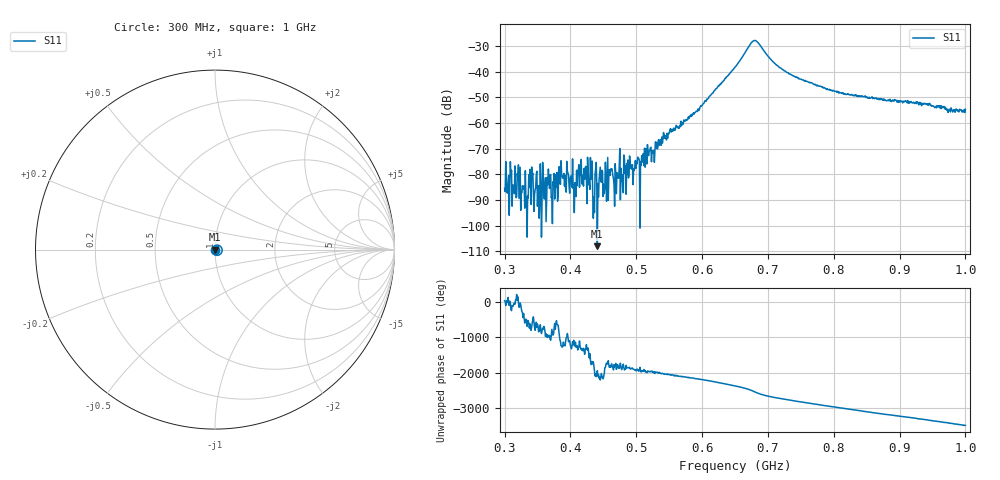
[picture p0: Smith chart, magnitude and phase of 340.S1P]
! C:\Users\rflab\Downloads\q2\340.S1P
! Touchstone 1.1 file saved by VNA.EXE V1.65 (www.ke5fx.com/gpib/readme.htm)
! 11/20/2024 11:17:15 AM
!  Source: HEWLETT PACKARD,8753D,0,6.14
!  Min freq: 3.000000E+008 Hz
!  Max freq: 1.000000E+009 Hz
!  Points: 801
!  Params: S21
# GHZ S MA R 50
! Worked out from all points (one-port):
!   801 points, 300 MHz to 1 GHz, reference 50 ohm
!   lowest |S11| = -108.0 dB at 440.9 MHz (marker M1), VSWR 1.00, Z = 50 - j0.000262 ohm
!   |S11| at or under -10 dB: start of sweep to end of sweep
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0.3  5.3e-05 36.0
0.3875  9.2e-05 163.6
0.412875  0.000154 173.8
0.421625  8e-05 -36.0
0.4295  5.1e-05 -17.7
0.440875  4e-06 -139.0
0.460125  9.5e-05 -4.5
0.46975  4.2e-05 -102.4
0.4715  9.6e-05 32.7
0.475  0.000319 -8.9
0.4785  9.8e-05 -70.9
0.479375  5.5e-05 -19.2
0.496  0.000127 -102.8
0.50125  0.000159 -91.2
0.50825  0.00023 -140.4
0.517875  0.00027 -147.1
0.526625  0.000294 159.6
0.53975  0.000406 145.8
0.5625  0.000853 66.6
0.593125  0.001677 -9.3
0.65  0.01222 150.4
0.673625  0.03477 32.8
0.680625  0.04034 -22.8
0.710375  0.01447 -177.8
0.7375  0.008297 95.5
0.825  0.003475 -149.6
0.9125  0.002738 -15.6
1  0.001853 114.0
